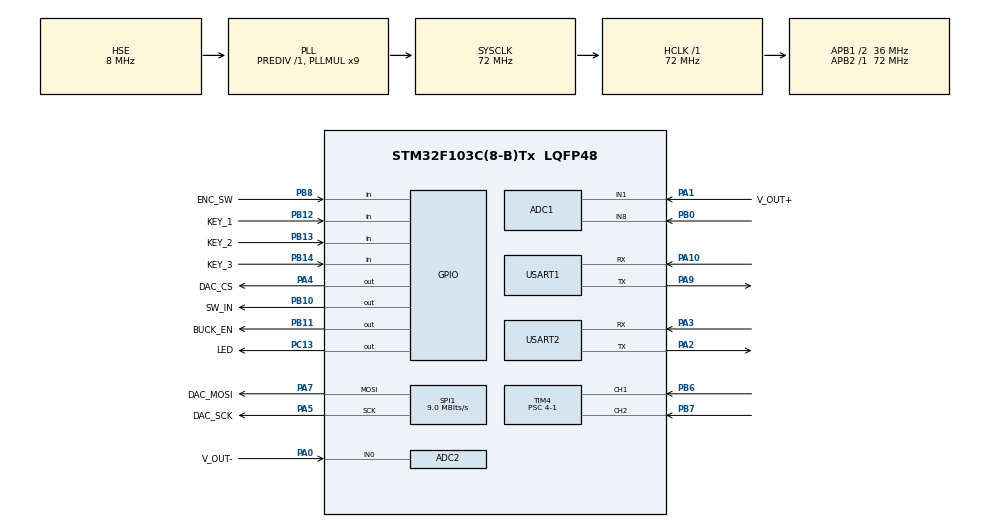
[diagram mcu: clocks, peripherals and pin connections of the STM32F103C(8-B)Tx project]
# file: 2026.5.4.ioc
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ADC1.Channel-0\#ChannelRegularConversion=ADC_CHANNEL_1
ADC1.Channel-1\#ChannelRegularConversion=ADC_CHANNEL_8
ADC1.ExternalTrigConv=ADC_EXTERNALTRIGCONV_T3_TRGO
ADC1.Mode=ADC_DUALMODE_REGSIMULT
ADC1.NbrOfConversion=2
ADC1.NbrOfConversionFlag=1
ADC1.Rank-0\#ChannelRegularConversion=1
ADC1.Rank-1\#ChannelRegularConversion=2
ADC1.SamplingTime-0\#ChannelRegularConversion=ADC_SAMPLETIME_71CYCLES_5
ADC1.SamplingTime-1\#ChannelRegularConversion=ADC_SAMPLETIME_71CYCLES_5
ADC1.master=1
ADC2.Channel-0\#ChannelRegularConversion=ADC_CHANNEL_0
ADC2.Mode=ADC_DUALMODE_REGSIMULT
ADC2.NbrOfConversionFlag=1
ADC2.Rank-0\#ChannelRegularConversion=1
ADC2.SamplingTime-0\#ChannelRegularConversion=ADC_SAMPLETIME_71CYCLES_5
Dma.ADC1.0.Direction=DMA_PERIPH_TO_MEMORY
Dma.ADC1.0.Instance=DMA1_Channel1
Dma.ADC1.0.MemDataAlignment=DMA_MDATAALIGN_WORD
Dma.ADC1.0.MemInc=DMA_MINC_ENABLE
Dma.ADC1.0.Mode=DMA_CIRCULAR
Dma.ADC1.0.PeriphDataAlignment=DMA_PDATAALIGN_WORD
Dma.ADC1.0.PeriphInc=DMA_PINC_DISABLE
Dma.ADC1.0.Priority=DMA_PRIORITY_LOW
Dma.Request0=ADC1
Mcu.Family=STM32F1
Mcu.Name=STM32F103C(8-B)Tx
Mcu.Package=LQFP48
NVIC.DMA1_Channel1_IRQn=true\:0\:0\:false\:false\:true\:false\:true\:true
NVIC.PriorityGroup=NVIC_PRIORITYGROUP_4
NVIC.USART1_IRQn=true\:0\:0\:false\:false\:true\:true\:true\:true
NVIC.USART2_IRQn=true\:0\:0\:false\:false\:true\:true\:true\:true
PA0-WKUP.GPIO_Label=V_OUT-
PA0-WKUP.Signal=ADCx_IN0
PA1.GPIO_Label=V_OUT+
PA1.Signal=ADCx_IN1
PA10.Mode=Asynchronous
PA10.Signal=USART1_RX
PA13.Mode=Serial_Wire
PA13.Signal=SYS_JTMS-SWDIO
PA14.Mode=Serial_Wire
PA14.Signal=SYS_JTCK-SWCLK
PA2.Mode=Asynchronous
PA2.Signal=USART2_TX
PA3.Mode=Asynchronous
PA3.Signal=USART2_RX
PA4.GPIO_Label=DAC_CS
PA4.GPIO_Speed=GPIO_SPEED_FREQ_LOW
PA4.PinState=GPIO_PIN_SET
PA4.Signal=GPIO_Output
PA5.GPIO_Label=DAC_SCK
PA5.Mode=TX_Only_Simplex_Unidirect_Master
PA5.Signal=SPI1_SCK
PA7.GPIO_Label=DAC_MOSI
PA7.Mode=TX_Only_Simplex_Unidirect_Master
PA7.Signal=SPI1_MOSI
PA9.Mode=Asynchronous
PA9.Signal=USART1_TX
PB0.Signal=ADCx_IN8
PB10.GPIO_Label=SW_IN
PB10.Signal=GPIO_Output
PB11.GPIO_Label=BUCK_EN
PB11.PinState=GPIO_PIN_RESET
PB11.Signal=GPIO_Output
PB12.GPIO_Label=KEY_1
PB12.Signal=GPIO_Input
PB13.GPIO_Label=KEY_2
PB13.Signal=GPIO_Input
PB14.GPIO_Label=KEY_3
PB14.Signal=GPIO_Input
PB6.GPIO_PuPd=GPIO_PULLUP
PB6.Signal=S_TIM4_CH1
PB7.GPIO_PuPd=GPIO_PULLUP
PB7.Signal=S_TIM4_CH2
PB8.GPIO_Label=ENC_SW
PB8.Signal=GPIO_Input
PC13-TAMPER-RTC.GPIO_Label=LED
PC13-TAMPER-RTC.PinState=GPIO_PIN_SET
PC13-TAMPER-RTC.Signal=GPIO_Output
PD0-OSC_IN.Mode=HSE-External-Oscillator
PD0-OSC_IN.Signal=RCC_OSC_IN
PD1-OSC_OUT.Mode=HSE-External-Oscillator
PD1-OSC_OUT.Signal=RCC_OSC_OUT
ProjectManager.HeapSize=0x200
ProjectManager.StackSize=0x400
ProjectManager.TargetToolchain=CMake
RCC.ADCPresc=RCC_ADCPCLK2_DIV6
RCC.AHBFreq_Value=72000000
RCC.APB1CLKDivider=RCC_HCLK_DIV2
RCC.APB1Freq_Value=36000000
RCC.APB1TimFreq_Value=72000000
RCC.APB2Freq_Value=72000000
RCC.APB2TimFreq_Value=72000000
RCC.HCLKFreq_Value=72000000
RCC.PLLMUL=RCC_PLL_MUL9
RCC.PLLSourceVirtual=RCC_PLLSOURCE_HSE
RCC.SYSCLKFreq_VALUE=72000000
RCC.SYSCLKSource=RCC_SYSCLKSOURCE_PLLCLK
RCC.USBFreq_Value=72000000
SH.ADCx_IN0.0=ADC2_IN0,IN0
SH.ADCx_IN1.0=ADC1_IN1,IN1
SH.ADCx_IN8.0=ADC1_IN8,IN8
SH.ADCx_IN8.1=ADC2_IN8
SH.S_TIM4_CH1.0=TIM4_CH1,Encoder_Interface
SH.S_TIM4_CH2.0=TIM4_CH2,Encoder_Interface
SPI1.BaudRatePrescaler=SPI_BAUDRATEPRESCALER_8
SPI1.CLKPhase=SPI_PHASE_2EDGE
SPI1.CalculateBaudRate=9.0 MBits/s
SPI1.Direction=SPI_DIRECTION_2LINES
SPI1.Mode=SPI_MODE_MASTER
SPI1.VirtualType=VM_MASTER
TIM3.Period=100-1
TIM3.Prescaler=72-1
TIM3.TIM_MasterOutputTrigger=TIM_TRGO_UPDATE
TIM4.ClockDivision=TIM_CLOCKDIVISION_DIV2
TIM4.EncoderMode=TIM_ENCODERMODE_TI12
TIM4.IC1Polarity=TIM_ICPOLARITY_FALLING
TIM4.IC2Polarity=TIM_ICPOLARITY_FALLING
TIM4.Period=100-1
TIM4.Prescaler=4-1
USART1.VirtualMode=VM_ASYNC
USART2.VirtualMode=VM_ASYNC
VP_TIM3_VS_ClockSourceINT.Mode=Internal
board=custom

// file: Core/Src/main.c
/* USER CODE BEGIN Header */
/**
  ******************************************************************************
  * @file           : main.c
  * @brief          : Main program body
  ******************************************************************************
  * @attention
  *
  * Copyright (c) 2026 STMicroelectronics.
  * All rights reserved.
  *
  * This software is licensed under terms that can be found in the LICENSE file
  * in the root directory of this software component.
  * If no LICENSE file comes with this software, it is provided AS-IS.
  *
  ******************************************************************************
  */
/* USER CODE END Header */
#include "main.h"
#include "adc.h"
#include "dma.h"
#include "spi.h"
#include "tim.h"
#include "usart.h"
#include "gpio.h"

/* USER CODE BEGIN Includes */
#include <stdio.h>
#include <string.h>
#include "ENABLE.h"
#include "DAC.h"
/* USER CODE END Includes */

/* USER CODE BEGIN PV */
uint32_t adc_ui_original[2];        // 存放同步采样的 32 位原始数据
uint16_t ADC1_CH1 = 0;        // ADC1: PA1 V_OUT+与PB0 V_SENSE
uint16_t ADC2_CH1 = 0;        // ADC2: PA0 V_OUT-与空数据
uint16_t ADC1_CH2 = 0;
/* USER CODE END PV */

void SystemClock_Config(void);

int main(void)
{

  /* MCU Configuration--------------------------------------------------------*/

  /* Reset of all peripherals, Initializes the Flash interface and the Systick. */
  HAL_Init();

  /* Configure the system clock */
  SystemClock_Config();

  /* Initialize all configured peripherals */
  MX_GPIO_Init();
  MX_DMA_Init();
  MX_ADC1_Init();
  MX_USART1_UART_Init();
  MX_USART2_UART_Init();
  MX_ADC2_Init();
  MX_SPI1_Init();
  MX_TIM4_Init();
  MX_TIM3_Init();
  /* USER CODE BEGIN 2 */
  DAC_Init(&hspi1);
  HAL_TIM_Encoder_Start(&htim4,TIM_CHANNEL_ALL);
  HAL_Delay(20);
  int counter = 0;
  char buff[50]="";

  //校准ADC
  HAL_ADCEx_Calibration_Start(&hadc1);
  HAL_ADCEx_Calibration_Start(&hadc2);

  HAL_ADC_Start(&hadc2); // 先开启从机
  HAL_ADCEx_MultiModeStart_DMA(&hadc1, adc_ui_original, 2);//开启DMA
  HAL_TIM_Base_Start(&htim3);//同步时钟

  uint32_t last_tick = HAL_GetTick();
  uint32_t last_tick_buff = HAL_GetTick();
  /* USER CODE END 2 */

  /* Infinite loop */
  /* USER CODE BEGIN WHILE */
  while (1)
  {
    if (HAL_GetTick() - last_tick_buff >= 500)
    {
      last_tick_buff = HAL_GetTick();

      counter = __HAL_TIM_GET_COUNTER(&htim4);
      snprintf(buff, 50, "Counter: %d\r\n", counter);
      HAL_UART_Transmit(&huart1, (uint8_t *)buff, strlen(buff), 10);
    }

    BUCK_Enable();

    if (HAL_GetTick() - last_tick >= 1000)
    {
      last_tick = HAL_GetTick();

      // 统一转换为真实的物理引脚电压值 (0 - 3300 mV)
      uint32_t ch1_mv = ((uint32_t)ADC1_CH1 * 3300) / 4095;
      uint32_t ch2_mv = ((uint32_t)ADC2_CH1 * 3300) / 4095;
      uint32_t ch3_mv = ((uint32_t)ADC1_CH2 * 3300) / 4095; // 第三通道

      // 串口一次性输出 3 个通道的真实电压值
      char msg[128];
      snprintf(msg, sizeof(msg), "CH1: %lu mV | CH2: %lu mV | CH3: %lu mV\r\n", ch1_mv, ch2_mv, ch3_mv);
      HAL_UART_Transmit(&huart1, (uint8_t*)msg, strlen(msg), 50);
    }
    /* USER CODE END WHILE */

  }
}

void HAL_ADC_ConvCpltCallback(ADC_HandleTypeDef* hadc)
{
  if(hadc == &hadc1)
  {
    // ====== 第一轮转换的数据（第1、2通道） ======
    ADC1_CH1 = (uint16_t)(adc_ui_original[0] & 0xFFFF); // ADC1 的第 1 个通道
    ADC2_CH1 = (uint16_t)(adc_ui_original[0] >> 16);    // ADC2 的第 1 个通道

    // ====== 第二轮转换的数据（第3、4通道） ======
    ADC1_CH2 = (uint16_t)(adc_ui_original[1] & 0xFFFF); // ADC1 的第 2 个通道
    //ADC2_CH2 = (uint16_t)(adc_ui_original[1] >> 16);     空数据

  }
}

void SystemClock_Config(void)
{
  RCC_OscInitTypeDef RCC_OscInitStruct = {0};
  RCC_ClkInitTypeDef RCC_ClkInitStruct = {0};
  RCC_PeriphCLKInitTypeDef PeriphClkInit = {0};

  /** Initializes the RCC Oscillators according to the specified parameters
  * in the RCC_OscInitTypeDef structure.
  */
  RCC_OscInitStruct.OscillatorType = RCC_OSCILLATORTYPE_HSE;
  RCC_OscInitStruct.HSEState = RCC_HSE_ON;
  RCC_OscInitStruct.HSEPredivValue = RCC_HSE_PREDIV_DIV1;
  RCC_OscInitStruct.HSIState = RCC_HSI_ON;
  RCC_OscInitStruct.PLL.PLLState = RCC_PLL_ON;
  RCC_OscInitStruct.PLL.PLLSource = RCC_PLLSOURCE_HSE;
  RCC_OscInitStruct.PLL.PLLMUL = RCC_PLL_MUL9;
  if (HAL_RCC_OscConfig(&RCC_OscInitStruct) != HAL_OK)
  {
    Error_Handler();
  }

  /** Initializes the CPU, AHB and APB buses clocks
  */
  RCC_ClkInitStruct.ClockType = RCC_CLOCKTYPE_HCLK|RCC_CLOCKTYPE_SYSCLK
                              |RCC_CLOCKTYPE_PCLK1|RCC_CLOCKTYPE_PCLK2;
  RCC_ClkInitStruct.SYSCLKSource = RCC_SYSCLKSOURCE_PLLCLK;
  RCC_ClkInitStruct.AHBCLKDivider = RCC_SYSCLK_DIV1;
  RCC_ClkInitStruct.APB1CLKDivider = RCC_HCLK_DIV2;
  RCC_ClkInitStruct.APB2CLKDivider = RCC_HCLK_DIV1;

  if (HAL_RCC_ClockConfig(&RCC_ClkInitStruct, FLASH_LATENCY_2) != HAL_OK)
  {
    Error_Handler();
  }
  PeriphClkInit.PeriphClockSelection = RCC_PERIPHCLK_ADC;
  PeriphClkInit.AdcClockSelection = RCC_ADCPCLK2_DIV6;
  if (HAL_RCCEx_PeriphCLKConfig(&PeriphClkInit) != HAL_OK)
  {
    Error_Handler();
  }
}

void Error_Handler(void)
{
  __disable_irq();
  while (1)
  {
  }
}
